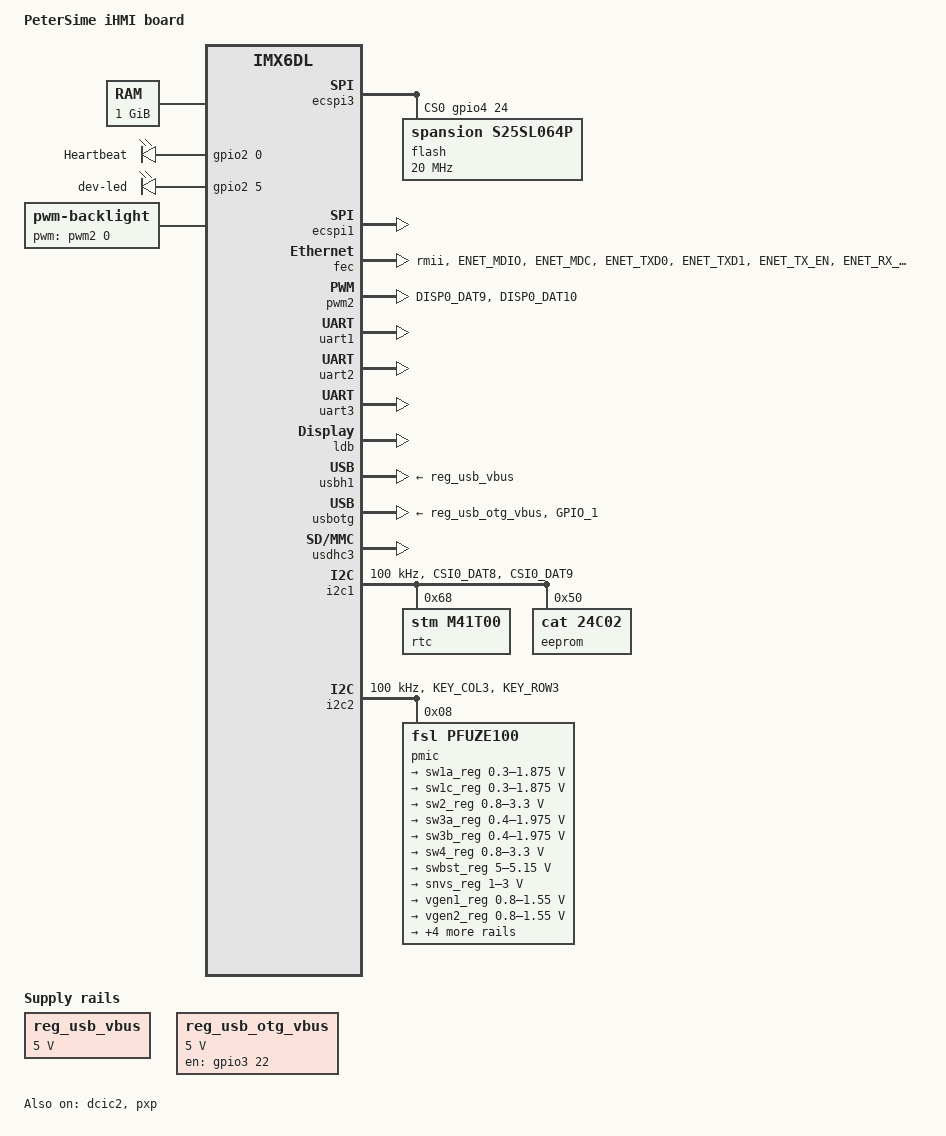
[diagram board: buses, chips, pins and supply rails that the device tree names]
/*
 * Copyright (C) 2013-2014 Freescale Semiconductor, Inc.
 *
 * This program is free software; you can redistribute it and/or modify
 * it under the terms of the GNU General Public License version 2 as
 * published by the Free Software Foundation.
 */

/dts-v1/;

#include "imx6dl.dtsi"


/ {
	model = "PeterSime iHMI board";
	compatible = "fsl,imx6dl-sabresd", "fsl,imx6dl";
};

/ {
	aliases {
		mxcfb0 = &mxcfb1;
	};

	memory {
		reg = <0x10000000 0x40000000>;
	};
	
	leds {
		compatible = "gpio-leds";
        status = "okay";

		dev-led-1 {
            label = "Heartbeat";
			gpios = <&gpio2 0 0>;
            linux,default-trigger = "heartbeat";
            default-state = "on";
		};
        
        dev-led-2 {
            label = "dev-led";
			gpios = <&gpio2 5 0>;
            default-state = "keep";
		};
        
	};

	regulators {
		compatible = "simple-bus";
		#address-cells = <1>;
		#size-cells = <0>;

		reg_usb_vbus: regulator@0 {
			compatible = "regulator-fixed";
			reg = <0>;
			regulator-name = "usb_vbus";
			regulator-min-microvolt = <5000000>;
			regulator-max-microvolt = <5000000>;
			enable-active-high;
		};
        
        reg_usb_otg_vbus: regulator@1 {
			compatible = "regulator-fixed";
			reg = <1>;
			regulator-name = "usb_otg_vbus";
			regulator-min-microvolt = <5000000>;
			regulator-max-microvolt = <5000000>;
			gpio = <&gpio3 22 0>;
			enable-active-high;
		};

	};


	mxcfb1: fb@0 {
		compatible = "fsl,mxc_sdc_fb";
		disp_dev = "ldb";
		interface_pix_fmt = "RGB24";
		mode_str ="LDB-XGA";
		default_bpp = <32>;
		int_clk = <0>;
		late_init = <0>;
		status = "okay";
	};	

	backlight {
		compatible = "pwm-backlight";
		pwms = <&pwm2 0 50000>;
		brightness-levels = <0 4 8 16 32 64 128 255>;
		default-brightness-level = <5>;
	};

};


&cpu0 {
	arm-supply = <&sw1a_reg>;
	soc-supply = <&sw1c_reg>;
};



&ecspi3 {
	fsl,spi-num-chipselects = <1>;
	cs-gpios = <&gpio4 24 0>;
	status = "okay";

	flash: s25fl064 {
		#address-cells = <1>;
		#size-cells = <1>;
		compatible = "spansion,s25sl064p";
		spi-max-frequency = <20000000>;
		reg = <0>;
        
        uboot@400 {
            label = "U-boot";
            reg = <0x400 0x1FFC00>;        
        };
        
        image@200000 {
            label = "Error Image";
            reg = <0x200000 0x400000>;        
        };
        
        ubootenv@0x7F0000 {
            label = "U-boot environment";
            reg = <0x7F0000 0x10000>;        
        };
        
	};
};


&ecspi2 {
	fsl,spi-num-chipselects = <1>;
	cs-gpios = <&gpio5 12 0>;
	pinctrl-names = "default";
	status = "disabled";
};

&ecspi1 {
	fsl,spi-num-chipselects = <3>;
	cs-gpios = <&gpio4 9 0>, 
               <&gpio4 10 0>,
               <&gpio4 11 0>;
	pinctrl-names = "default";
	status = "okay";    
};


&fec {
	pinctrl-names = "default";
	pinctrl-0 = <&pinctrl_enet_mii_1>;
	phy-mode = "rmii";
	status = "okay";
    
    pinctrl_enet_mii_1: enet-mii-1 {
        fsl,pins = <
            MX6QDL_PAD_ENET_MDIO__ENET_MDIO      0x80000000
            MX6QDL_PAD_ENET_MDC__ENET_MDC        0x80000000
            MX6QDL_PAD_ENET_TXD0__ENET_TX_DATA0  0x80000000
            MX6QDL_PAD_ENET_TXD1__ENET_TX_DATA1  0x80000000
            MX6QDL_PAD_ENET_TX_EN__ENET_TX_EN    0x80000000
            MX6QDL_PAD_ENET_RX_ER__ENET_RX_ER    0x80000000
            MX6QDL_PAD_ENET_RXD0__ENET_RX_DATA0  0x80000000
            MX6QDL_PAD_ENET_RXD1__ENET_RX_DATA1  0x80000000
            MX6QDL_PAD_ENET_CRS_DV__ENET_RX_EN   0x80000000
            MX6QDL_PAD_GPIO_19__ENET_TX_ER       0x80000000
            MX6QDL_PAD_GPIO_16__ENET_REF_CLK     0x80000000
            MX6QDL_PAD_NANDF_CS0__GPIO6_IO11     0x80000000
        >;
    };
};

#if 0
&gpu {
	pu-supply = <&pu_dummy>; /* ldo-bypass:use pu_dummy if VDDSOC share with VDDPU */
};
#endif

&pwm2 {
	pinctrl-names = "default";
	pinctrl-0 = <&pinctrl_pwm2_1>;
	status = "okay";
    
    pinctrl_pwm2_1: pwm2grp-1 {
        fsl,pins = <
            MX6QDL_PAD_DISP0_DAT9__PWM2_OUT 0x80000000
            MX6QDL_PAD_DISP0_DAT10__GPIO4_IO31 0x80000000
        >;
    };
};

&uart1 {
	status = "okay";
};


&uart2 {
	status = "okay";
};

&uart3 {
	status = "okay";
};

&ldb {
	status = "okay";
    
            
    lvds-channel@0 {
		#address-cells = <1>;
		#size-cells = <0>;
		reg = <0>;
        fsl,data-mapping = "spwg";
        fsl,data-width = <24>;
		crtc = "ipu1-di0";
        primary = <1>;
        status = "okay";

        display-timings {
            native-mode = <&timing0>;
            timing0: XGA {
                clock-frequency = <65000000>;
                hactive = <1024>;
                vactive = <768>;
                hfront-porch = <100>;
                hback-porch = <220>;
                hsync-len = <60>;
                vback-porch = <21>;
                vfront-porch = <17>;
                vsync-len = <10>;
            };                        
        };

         port@0 {                         
            reg = <0>;
         };
    };
};


&dcic2 {
	dcic_id = <1>;
	dcic_mux = "dcic-lvds1";
	status = "okay";
};

&usbh1 {
	vbus-supply = <&reg_usb_vbus>;
	status = "okay";
};

&usbotg {
	vbus-supply = <&reg_usb_otg_vbus>;
	pinctrl-names = "default";
	pinctrl-0 = <&pinctrl_usbotg_1>;
	disable-over-current;
	status = "okay";
    
    pinctrl_usbotg_1: usbotggrp-1 {
        fsl,pins = <
            MX6QDL_PAD_GPIO_1__USB_OTG_ID 0x17059
        >;
    };
};

&usdhc3 {
	status = "okay";
};

&clks {
	fsl,ldb-di0-parent = <&clks IMX6QDL_CLK_PLL2_PFD0_352M>;
	fsl,ldb-di1-parent = <&clks IMX6QDL_CLK_PLL2_PFD0_352M>;
};


&gpc {
	fsl,ldo-bypass = <1>;
};

&pxp {
	status = "okay";
};


&i2c1 {
	clock-frequency = <100000>;
	pinctrl-names = "default";
	pinctrl-0 = <&pinctrl_i2c1_2>;
	status = "okay";

    rtc: m41t00@68 {
        compatible = "stm,m41t00"; /* dallas,ds1340*/
        reg = <0x68>;
    };
    
    eeprom: cat24c02@50 {
        compatible = "cat,24c02";
        reg = <0x50>;
        pagesize = <16>;
    };
    
    pinctrl_i2c1_2: i2c1grp-2 {
        fsl,pins = <
            MX6QDL_PAD_CSI0_DAT8__I2C1_SDA 0x4001b851
            MX6QDL_PAD_CSI0_DAT9__I2C1_SCL 0x4001b851
        >;
    };
};


&i2c2 {
	clock-frequency = <100000>;
	pinctrl-names = "default";
	pinctrl-0 = <&pinctrl_i2c2_2>;
	status = "okay";    
    
	pmic: pfuze100@08 {
		compatible = "fsl,pfuze100";
		reg = <0x08>;
        interrupt-parent = <&gpio7>; /* interrupt on GPIO 3
        interrupts = <13 1>; /* 1 = low-to-high edge triggered */
        pinctrl-names = "default";
        pinctrl-0 = <&pmic_interrupt>;
        
        pmic_interrupt: pmic_interrupt0 {
            fsl,pins = <
                MX6QDL_PAD_GPIO_18__GPIO7_IO13 0x130b1
            >;
        };
		
        regulators {
            // VCORE
			sw1a_reg: sw1ab {
				regulator-min-microvolt = <300000>;
				regulator-max-microvolt = <1875000>;
				regulator-boot-on;
				regulator-always-on;
				regulator-ramp-delay = <6250>;
			};

            // VSOC
			sw1c_reg: sw1c {
				regulator-min-microvolt = <300000>;
				regulator-max-microvolt = <1875000>;
				regulator-boot-on;
				regulator-always-on;
				regulator-ramp-delay = <6250>;
			};

            // 3V3
			sw2_reg: sw2 {
				regulator-min-microvolt = <800000>;
				regulator-max-microvolt = <3300000>;
				regulator-boot-on;
				regulator-always-on;
			};

            // DDR_1V5
			sw3a_reg: sw3a {
				regulator-min-microvolt = <400000>;
				regulator-max-microvolt = <1975000>;
				regulator-boot-on;
				regulator-always-on;
			};

            // unused
			sw3b_reg: sw3b {
				regulator-min-microvolt = <400000>;
				regulator-max-microvolt = <1975000>;
				regulator-boot-on;
				regulator-always-on;
			};

            // 3V15
			sw4_reg: sw4 {
				regulator-min-microvolt = <800000>;
				regulator-max-microvolt = <3300000>;
				regulator-boot-on;
				regulator-always-on;
			};

            // BST_5V
			swbst_reg: swbst {
				regulator-min-microvolt = <5000000>;
				regulator-max-microvolt = <5150000>;
				regulator-boot-on;
				regulator-always-on;
			};

            // NC
			snvs_reg: vsnvs {
				regulator-min-microvolt = <1000000>;
				regulator-max-microvolt = <3000000>;
			};

            // NC
			vref_reg: vrefddr {
				regulator-boot-on;
				regulator-always-on;
			};

            // RGMII -> unused
			vgen1_reg: vgen1 {
				regulator-min-microvolt = <800000>;
				regulator-max-microvolt = <1550000>;
			};

			
            // PCI-E -> unused
			vgen2_reg: vgen2 {
				regulator-min-microvolt = <800000>;
				regulator-max-microvolt = <1550000>;
			};

            // NC
			vgen3_reg: vgen3 {
				regulator-min-microvolt = <1800000>;
				regulator-max-microvolt = <3300000>;
			};

            // NC
			vgen4_reg: vgen4 {
				regulator-min-microvolt = <1800000>;
				regulator-max-microvolt = <3300000>;
				regulator-boot-on;
				regulator-always-on;
			};

            // on for now, to be confirmed
			vgen5_reg: vgen5 {
				regulator-min-microvolt = <1800000>;
				regulator-max-microvolt = <3300000>;
				regulator-boot-on;
				regulator-always-on;
			};

			vgen6_reg: vgen6 {
				regulator-min-microvolt = <1800000>;
				regulator-max-microvolt = <3300000>;
				regulator-boot-on;
				regulator-always-on;
			};
		};
	};
    
    pinctrl_i2c2_2: i2c2grp-2 {
        fsl,pins = <
            MX6QDL_PAD_KEY_COL3__I2C2_SCL 0x4001b851
            MX6QDL_PAD_KEY_ROW3__I2C2_SDA 0x4001b851
        >;
    };
};

#if 0
&i2c3 {
    clock-frequency = <100000>;
    pinctrl-names = "default";
    pinctrl-0 = <&pinctrl_i2c3_1>;
    status = "okay";
        
    captouch: ilitek@41 {
        compatible = "ilitek_i2c";
        reg = <0x41>;
    };
    
    pinctrl_i2c3_1: i2c3grp-1 {
        fsl,pins = <
            MX6QDL_PAD_EIM_D17__I2C3_SCL 0x4001b8b1
            MX6QDL_PAD_EIM_D18__I2C3_SDA 0x4001b8b1
        >;
    };
};
#endif


&iomuxc {
	pinctrl-names = "default";
	pinctrl-0 = <&pinctrl_hog_1>;

	hog {
		pinctrl_hog_1: hoggrp-1 {
			fsl,pins = <
            // LEDS
                MX6QDL_PAD_NANDF_D0__GPIO2_IO00 0x80000000
                MX6QDL_PAD_NANDF_D5__GPIO2_IO05 0x80000000
            // SPI            
            MX6QDL_PAD_DISP0_DAT17__ECSPI2_MISO 0x10051
            MX6QDL_PAD_DISP0_DAT16__ECSPI2_MOSI 0x10051
            MX6QDL_PAD_DISP0_DAT19__ECSPI2_SCLK 0x10051
            MX6QDL_PAD_DISP0_DAT18__GPIO5_IO12 0x1b051
                        
            MX6QDL_PAD_DISP0_DAT3__GPIO4_IO24 0x80000000
            
            // Touch Control reset
            MX6QDL_PAD_NANDF_RB0__GPIO6_IO10 0x1f0b0
            
            
			>;
		};
	};      
};

    

    
    

    

   
